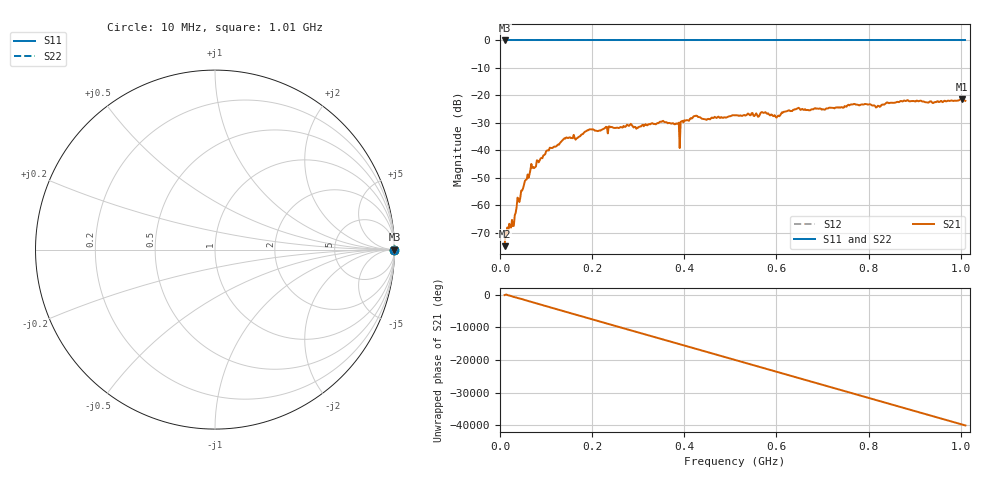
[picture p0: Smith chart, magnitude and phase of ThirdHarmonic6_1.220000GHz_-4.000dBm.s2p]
! 8/16/2025 12:47:13 PM
! C:\ANRITSUVNA\TEMP\TEMP.S2P
! CHANNEL.1
! TR.MEASUREMENT
! RAW.DATA
! RF.CORRECTION.OFF
! AVERAGING.OFF
! IF.BANDWIDTH: 5KHZ
! SWEEPTYPE:  FREQ.SWEEP(Linear)
! Reference Plane Port Info
! PORT:  PORT1  PORT2
! DISTANCE:  0  m  0  m
! TIME:  0  s  0  s
! PHASE.OFFSET:  0  deg.  0  deg.
! LOSS:  0  dB  0  dB
! REF.LOSS:  0  dB  0  dB
! REF.FREQ:  0  Hz  0  Hz
! Power Info
! POWER:  -20  dBm  -20  dBm
! EFF.POWER:  -20  dBm  -20  dBm
! SOURCE.ATTEN:  0  dB  0  dB
! TEST.ATTEN:  0  dB  0  dB
# GHZ S RI R 50.0
! FREQ.GHZ  S11RE  S11IM  S21RE  S21IM  S12RE  S12IM  S22RE  S22IM
!; PortSelection: Port_12
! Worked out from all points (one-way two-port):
!   501 points, 10 MHz to 1.01 GHz, reference 50 ohm
!   highest |S21| = -21.41 dB at 1.002 GHz (marker M1); lowest = -74.8 dB at 10 MHz (marker M2)
!   lowest |S11| = 0.0 dB at 10 MHz (marker M3)
!   |S11| at or under -10 dB: nowhere
!   |S22| runs from 0.0 to 0.0 dB; largest |S21 - S12| = 1.1
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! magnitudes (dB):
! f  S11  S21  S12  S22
! 10 MHz  0.0  -74.8  0.0  0.0
! 16 MHz  0.0  -68.0  0.0  0.0
! 28 MHz  0.0  -67.5  0.0  0.0
! 42 MHz  0.0  -58.7  0.0  0.0
! 68 MHz  0.0  -44.9  0.0  0.0
! 140 MHz  0.0  -35.6  0.0  0.0
! 178 MHz  0.0  -34.1  0.0  0.0
! 198 MHz  0.0  -32.3  0.0  0.0
! 344 MHz  0.0  -30.1  0.0  0.0
! 384 MHz  0.0  -30.3  0.0  0.0
! 386 MHz  0.0  -30.2  0.0  0.0
! 394 MHz  0.0  -29.4  0.0  0.0
! 396 MHz  0.0  -29.2  0.0  0.0
! 424 MHz  0.0  -27.5  0.0  0.0
! 510 MHz  0.0  -27.3  0.0  0.0
! 572 MHz  0.0  -26.4  0.0  0.0
! 602 MHz  0.0  -27.6  0.0  0.0
! 644 MHz  0.0  -24.8  0.0  0.0
! 678 MHz  0.0  -25.0  0.0  0.0
! 844 MHz  0.0  -22.8  0.0  0.0
! 1.002 GHz  0.0  -21.4  0.0  0.0
! 1.01 GHz  0.0  -22.0  0.0  0.0
